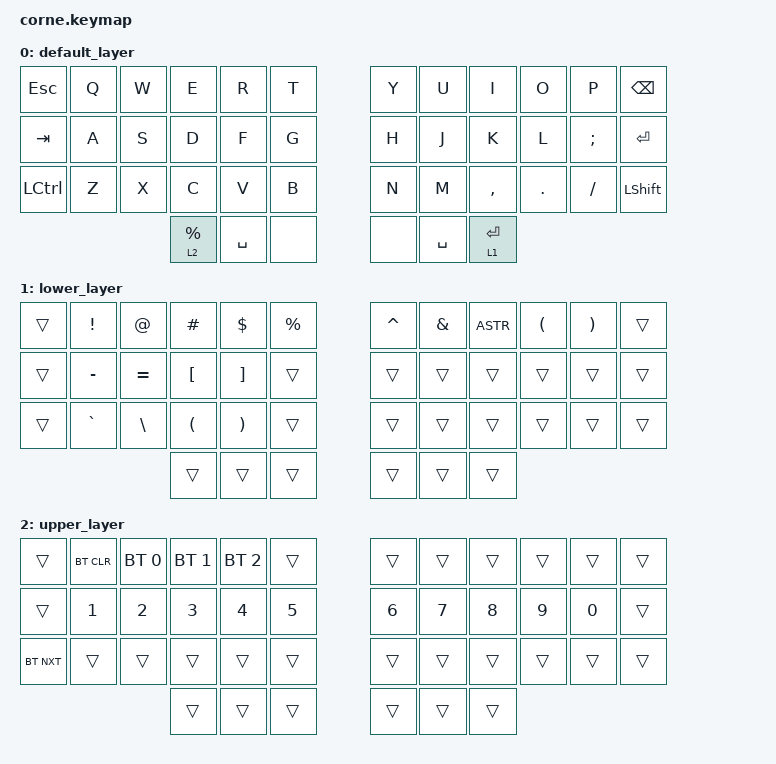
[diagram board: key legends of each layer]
#include <behaviors.dtsi>
#include <dt-bindings/zmk/keys.h>
#include <dt-bindings/zmk/bt.h>

/ {
    chosen {
        zmk,matrix_transform = &default_transform;
    };

    default_transform: keymap_transform_0 {
        compatible = "zmk,matrix-transform";
        columns = <12>;
        rows = <4>;

        // 3x6 + 3 thumbs on Left, 3x6 + 3 thumbs on Right
        map = <
            RC(0,0) RC(0,1) RC(0,2) RC(0,3) RC(0,4) RC(0,5)    RC(0,6) RC(0,7) RC(0,8) RC(0,9) RC(0,10) RC(0,11)
            RC(1,0) RC(1,1) RC(1,2) RC(1,3) RC(1,4) RC(1,5)    RC(1,6) RC(1,7) RC(1,8) RC(1,9) RC(1,10) RC(1,11)
            RC(2,0) RC(2,1) RC(2,2) RC(2,3) RC(2,4) RC(2,5)    RC(2,6) RC(2,7) RC(2,8) RC(2,9) RC(2,10) RC(2,11)
                            RC(3,3) RC(3,4) RC(3,5)    RC(3,6) RC(3,7) RC(3,8)
        >;
    };

    behaviors {
        // Left hand left thumb: Hold for Upper Layer (2), Tap for Percent (%)
        lt_prcnt: layer_tap_percent {
            compatible = "zmk,behavior-hold-tap";
            label = "LAYER_TAP_PERCENT";
            #binding-cells = <2>;
            flavor = "tap-preferred";
            tapping-term-ms = <200>;
            bindings = <&mo>, <&kp>;
        };
    };

    keymap {
        compatible = "zmk,keymap";

        // Base Layer
        default_layer {
            bindings = <
                // LEFT HAND                                        // RIGHT HAND
                &kp ESC    &kp Q  &kp W  &kp E  &kp R  &kp T        &kp Y  &kp U  &kp I      &kp O    &kp P     &kp BSPC
                &kp TAB    &kp A  &kp S  &kp D  &kp F  &kp G        &kp H  &kp J  &kp K      &kp L    &kp SEMI  &kp RET
                &kp LCTRL  &kp Z  &kp X  &kp C  &kp V  &kp B        &kp N  &kp M  &kp COMMA  &kp DOT  &kp FSLH  &kp LSHFT
                          &lt_prcnt 2 PRCNT  &kp SPACE &none        &none  &kp SPACE &lt 1 RET
            >;
        };

        // Lower Layer (1)
        lower_layer {
            bindings = <
                &trans  &kp EXCL  &kp AT    &kp HASH  &kp DLLR  &kp PRCNT    &kp CARET &kp AMPS  &kp ASTR  &kp LPAR  &kp RPAR  &trans
                &trans  &kp MINUS &kp EQUAL &kp LBKT  &kp RBKT  &trans       &trans    &trans    &trans    &trans    &trans    &trans
                &trans  &kp GRAVE &kp BSLH  &kp LPAR  &kp RPAR  &trans       &trans    &trans    &trans    &trans    &trans    &trans
                                  &trans    &trans    &trans       &trans    &trans    &trans
            >;
        };

        // Upper Layer (2) - Bluetooth & Home Row Numbers
        upper_layer {
            bindings = <
                &trans      &bt BT_CLR  &bt BT_SEL 0  &bt BT_SEL 1  &bt BT_SEL 2  &trans    &trans  &trans  &trans  &trans  &trans  &trans
                &trans      &kp N1      &kp N2        &kp N3        &kp N4        &kp N5    &kp N6  &kp N7  &kp N8  &kp N9  &kp N0  &trans
                &bt BT_NXT  &trans      &trans        &trans        &trans        &trans    &trans  &trans  &trans  &trans  &trans  &trans
                                        &trans        &trans        &trans        &trans    &trans  &trans
            >;
        };
    };
};
